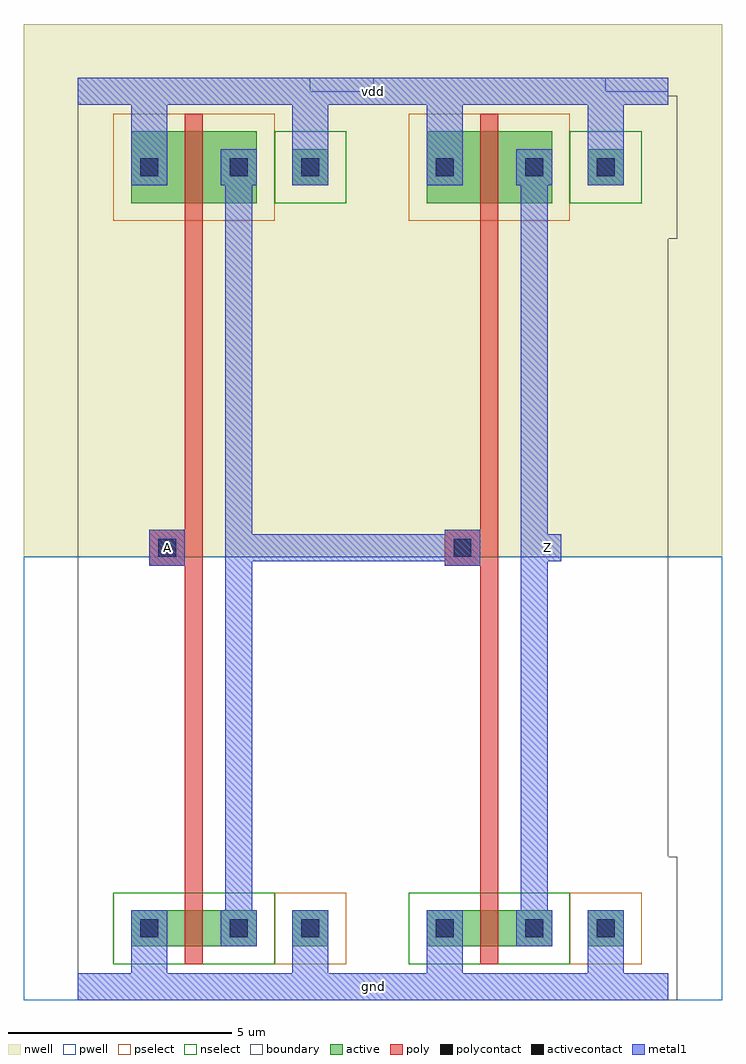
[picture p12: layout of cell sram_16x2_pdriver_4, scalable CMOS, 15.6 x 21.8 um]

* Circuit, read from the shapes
.subckt sram_16x2_pdriver_4 A Z gnd vdd
M1 sram_16x2_pinv_5_1/A A gnd gnd nfet w=0.8u l=0.4u
M2 Z sram_16x2_pinv_5_1/A gnd gnd nfet w=0.8u l=0.4u
M3 sram_16x2_pinv_5_1/A A vdd vdd pfet w=1.6u l=0.4u
M4 Z sram_16x2_pinv_5_1/A vdd vdd pfet w=1.6u l=0.4u
.ends

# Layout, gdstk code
import gdstk
lib = gdstk.Library(unit=1e-6, precision=1e-09)
def R(c, l, rs):  # rectangles x0, y0, x1, y1
    for r in rs: c.add(gdstk.rectangle(r[:2], r[2:], *l))
pwell = (41, 0)
nwell = (42, 0)
active = (43, 0)
pselect = (44, 0)
nselect = (45, 0)
poly = (46, 0)
polycontact = (47, 0)
activecontact = (48, 0)
metal1 = (49, 0)
boundary = (63, 0)

sram_16x2_contact_12 = lib.new_cell('sram_16x2_contact_12')
R(sram_16x2_contact_12, nwell, [(-1.2,-1.2,2,2)])
R(sram_16x2_contact_12, active, [(0,0,0.8,0.8)])
R(sram_16x2_contact_12, pselect, [(-0.4,-0.4,1.2,1.2)])
R(sram_16x2_contact_12, activecontact, [(0.2,0.2,0.6,0.6)])
R(sram_16x2_contact_12, metal1, [(0,0,0.8,0.8)])
R(sram_16x2_contact_12, boundary, [(-1.2,-1.2,2,2)])

sram_16x2_pmos_m1_w1_600 = lib.new_cell('sram_16x2_pmos_m1_w1_600_sm1_dm1_da_p')
R(sram_16x2_pmos_m1_w1_600, nwell, [(-1.2,-1.2,4,2.8)])
R(sram_16x2_pmos_m1_w1_600, active, [(0,0,2.8,1.6)])
R(sram_16x2_pmos_m1_w1_600, pselect, [(-0.4,-0.4,3.2,2)])
R(sram_16x2_pmos_m1_w1_600, poly, [(1.2,-0.4,1.6,2), (1.2,-0.4,1.6,2)])
R(sram_16x2_pmos_m1_w1_600, metal1, [(0,0.4,0.8,1.2), (2,0.4,2.8,1.2)])
R(sram_16x2_pmos_m1_w1_600, boundary, [(-1.2,-1.2,4,2.8)])
sram_16x2_pmos_m1_w1_600.add(gdstk.Reference(sram_16x2_contact_12, (0,0.4)))
sram_16x2_pmos_m1_w1_600.add(gdstk.Reference(sram_16x2_contact_12, (2,0.4)))
sram_16x2_pmos_m1_w1_600.add(gdstk.Label('G', (1.4,0.8), layer=46, texttype=0))
sram_16x2_pmos_m1_w1_600.add(gdstk.Label('S', (0.4,0.8), layer=49, texttype=0))
sram_16x2_pmos_m1_w1_600.add(gdstk.Label('D', (2.4,0.8), layer=49, texttype=0))

sram_16x2_contact_11 = lib.new_cell('sram_16x2_contact_11')
R(sram_16x2_contact_11, pwell, [(-1.2,-1.2,2,2)])
R(sram_16x2_contact_11, active, [(0,0,0.8,0.8)])
R(sram_16x2_contact_11, nselect, [(-0.4,-0.4,1.2,1.2)])
R(sram_16x2_contact_11, activecontact, [(0.2,0.2,0.6,0.6)])
R(sram_16x2_contact_11, metal1, [(0,0,0.8,0.8)])
R(sram_16x2_contact_11, boundary, [(-1.2,-1.2,2,2)])

sram_16x2_nmos_m1_w0_800 = lib.new_cell('sram_16x2_nmos_m1_w0_800_sm1_dm1_da_p')
R(sram_16x2_nmos_m1_w0_800, pwell, [(-1.2,-1.2,4,2)])
R(sram_16x2_nmos_m1_w0_800, active, [(0,0,2.8,0.8)])
R(sram_16x2_nmos_m1_w0_800, nselect, [(-0.4,-0.4,3.2,1.2)])
R(sram_16x2_nmos_m1_w0_800, poly, [(1.2,-0.4,1.6,1.2), (1.2,-0.4,1.6,1.2)])
R(sram_16x2_nmos_m1_w0_800, metal1, [(0,0,0.8,0.8), (2,0,2.8,0.8)])
R(sram_16x2_nmos_m1_w0_800, boundary, [(-1.2,-1.2,4,2)])
sram_16x2_nmos_m1_w0_800.add(gdstk.Reference(sram_16x2_contact_11, (0,0)))
sram_16x2_nmos_m1_w0_800.add(gdstk.Reference(sram_16x2_contact_11, (2,0)))
sram_16x2_nmos_m1_w0_800.add(gdstk.Label('G', (1.4,0.4), layer=46, texttype=0))
sram_16x2_nmos_m1_w0_800.add(gdstk.Label('S', (0.4,0.4), layer=49, texttype=0))
sram_16x2_nmos_m1_w0_800.add(gdstk.Label('D', (2.4,0.4), layer=49, texttype=0))

sram_16x2_contact_13 = lib.new_cell('sram_16x2_contact_13')
R(sram_16x2_contact_13, nwell, [(-1.2,-1.2,2,2)])
R(sram_16x2_contact_13, active, [(0,0,0.8,0.8)])
R(sram_16x2_contact_13, nselect, [(-0.4,-0.4,1.2,1.2)])
R(sram_16x2_contact_13, activecontact, [(0.2,0.2,0.6,0.6)])
R(sram_16x2_contact_13, metal1, [(0,0,0.8,0.8)])
R(sram_16x2_contact_13, boundary, [(-1.2,-1.2,2,2)])

sram_16x2_contact_14 = lib.new_cell('sram_16x2_contact_14')
R(sram_16x2_contact_14, pwell, [(-1.2,-1.2,2,2)])
R(sram_16x2_contact_14, active, [(0,0,0.8,0.8)])
R(sram_16x2_contact_14, pselect, [(-0.4,-0.4,1.2,1.2)])
R(sram_16x2_contact_14, activecontact, [(0.2,0.2,0.6,0.6)])
R(sram_16x2_contact_14, metal1, [(0,0,0.8,0.8)])
R(sram_16x2_contact_14, boundary, [(-1.2,-1.2,2,2)])

sram_16x2_contact_15 = lib.new_cell('sram_16x2_contact_15')
R(sram_16x2_contact_15, poly, [(0,0,0.8,0.8)])
R(sram_16x2_contact_15, polycontact, [(0.2,0.2,0.6,0.6)])
R(sram_16x2_contact_15, metal1, [(0,0,0.8,0.8)])
R(sram_16x2_contact_15, boundary, [(0,0,0.8,0.8)])

sram_16x2_pinv_5 = lib.new_cell('sram_16x2_pinv_5')
R(sram_16x2_pinv_5, pwell, [(-1.2,-0.3,7.8,9.6)])
R(sram_16x2_pinv_5, nwell, [(-1.2,9.6,7.8,21.5)])
R(sram_16x2_pinv_5, poly, [(2.4,2.1,2.8,17.1), (2,9.4,2.4,10.2)])
R(sram_16x2_pinv_5, metal1, [(0,-0.3,6.6,0.3), (1.2,-0.3,2,0.9), (4.8,0,5.6,1.3), (3.3,0.9,3.9,18.7), (1.6,9.4,2.4,10.2), (3.6,9.5,4.2,10.1), (1.2,17.9,2,20.3), (4.8,18.3,5.6,20), (0,19.7,6.6,20.3)])
R(sram_16x2_pinv_5, boundary, [(0,0,6.6,20), (0,0,6.6,20)])
sram_16x2_pinv_5.add(gdstk.Reference(sram_16x2_pmos_m1_w1_600, (1.2,17.5)))
sram_16x2_pinv_5.add(gdstk.Reference(sram_16x2_nmos_m1_w0_800, (1.2,0.9)))
sram_16x2_pinv_5.add(gdstk.Reference(sram_16x2_contact_13, (4.8,17.9)))
sram_16x2_pinv_5.add(gdstk.Reference(sram_16x2_contact_14, (4.8,0.9)))
sram_16x2_pinv_5.add(gdstk.Reference(sram_16x2_contact_15, (1.6,9.4)))
sram_16x2_pinv_5.add(gdstk.Label('A', (2,9.8), layer=49, texttype=0))
sram_16x2_pinv_5.add(gdstk.Label('Z', (3.9,9.8), layer=49, texttype=0))
sram_16x2_pinv_5.add(gdstk.Label('gnd', (3.3,0), layer=49, texttype=0))
sram_16x2_pinv_5.add(gdstk.Label('vdd', (3.3,20), layer=49, texttype=0))

sram_16x2_pdriver_4 = lib.new_cell('sram_16x2_pdriver_4')
R(sram_16x2_pdriver_4, pwell, [(-1.2,-0.3,14.4,9.6)])
R(sram_16x2_pdriver_4, nwell, [(-1.2,9.6,14.4,21.5)])
R(sram_16x2_pdriver_4, metal1, [(0,-0.3,13.2,0.3), (1.6,9.4,2.4,10.2), (3.9,9.5,8.6,10.1), (10.2,9.5,10.8,10.1), (0,19.7,13.2,20.3)])
R(sram_16x2_pdriver_4, boundary, [(0,0,13.2,20), (0,0,13.2,20)])
sram_16x2_pdriver_4.add(gdstk.Reference(sram_16x2_pinv_5, (0,0)))
sram_16x2_pdriver_4.add(gdstk.Reference(sram_16x2_pinv_5, (6.6,0)))
sram_16x2_pdriver_4.add(gdstk.Label('Z', (10.5,9.8), layer=49, texttype=0))
sram_16x2_pdriver_4.add(gdstk.Label('A', (2,9.8), layer=49, texttype=0))
sram_16x2_pdriver_4.add(gdstk.Label('gnd', (6.6,0), layer=49, texttype=0))
sram_16x2_pdriver_4.add(gdstk.Label('vdd', (6.6,20), layer=49, texttype=0))

lib.write_gds('sram_16x2_pdriver_4.gds')
